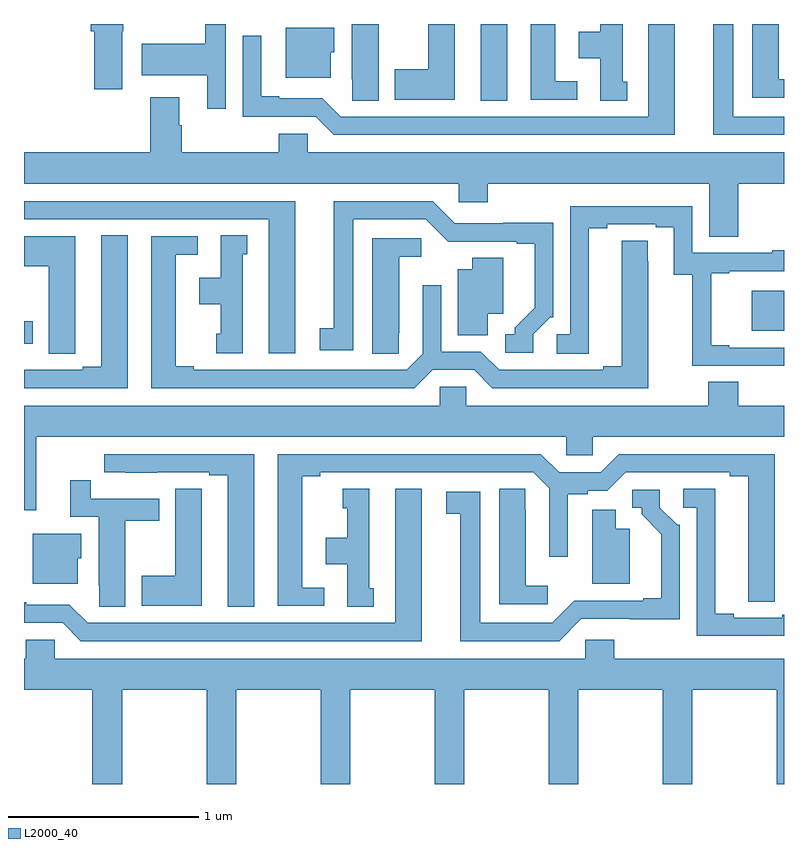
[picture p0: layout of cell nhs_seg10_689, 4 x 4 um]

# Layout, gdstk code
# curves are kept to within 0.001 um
import gdstk
lib = gdstk.Library(unit=1e-6, precision=1e-09)
def R(c, l, rs):  # rectangles x0, y0, x1, y1
    for r in rs: c.add(gdstk.rectangle(r[:2], r[2:], *l))
def P(c, l, *ps):  # polygons
    for p in ps: c.add(gdstk.Polygon(p, *l))
L2000_40 = (2000, 40)

nhs_seg10_689 = lib.new_cell('nhs_seg10_689')
R(nhs_seg10_689, L2000_40, [(145,1288.818,145.045,1288.935), (148.829,1288.886,149,1289.095), (147.404,1290.097,147.544,1290.5)])
P(nhs_seg10_689, L2000_40, [(146.061,1290.5),(145.953,1290.5),(145.953,1290.396),(145.62,1290.396),(145.62,1290.23),(145.964,1290.23),(145.964,1290.054),(146.061,1290.054)],
  [(147.913,1290.198),(147.796,1290.198),(147.796,1290.5),(147.668,1290.5),(147.668,1290.102),(147.913,1290.102)],
  [(148.174,1290.195),(148.15,1290.195),(148.15,1290.5),(148.034,1290.5),(148.034,1290.46),(147.92,1290.46),(147.92,1290.32),(148.034,1290.32),(148.034,1290.097),(148.174,1290.097)],
  [(148.426,1290.5),(148.286,1290.5),(148.286,1290.012),(146.667,1290.012),(146.571,1290.108),(146.344,1290.108),(146.344,1290.121),(146.248,1290.121),(146.248,1290.439),(146.151,1290.439),(146.151,1290.012),(146.535,1290.012),(146.631,1289.916),(148.426,1289.916)],
  [(145.516,1290.462),(145.522,1290.462),(145.522,1290.5),(145.352,1290.5),(145.352,1290.462),(145.37,1290.462),(145.37,1290.156),(145.516,1290.156)],
  [(146.866,1290.5),(146.726,1290.5),(146.726,1290.208),(146.727,1290.208),(146.727,1290.097),(146.866,1290.097)],
  [(149,1290.208),(148.972,1290.208),(148.972,1290.5),(148.832,1290.5),(148.832,1290.111),(149,1290.111)],
  [(147.268,1290.5),(147.128,1290.5),(147.128,1290.261),(146.951,1290.261),(146.951,1290.101),(147.268,1290.101)],
  [(149,1290.012),(148.732,1290.012),(148.732,1290.5),(148.628,1290.5),(148.628,1289.916),(149,1289.916)],
  [(146.614,1290.351),(146.632,1290.351),(146.632,1290.481),(146.378,1290.481),(146.378,1290.218),(146.614,1290.218)],
  [(148.76,1289.66),(149,1289.66),(149,1289.824),(146.493,1289.824),(146.493,1289.922),(146.342,1289.922),(146.342,1289.824),(145.829,1289.824),(145.829,1289.966),(145.816,1289.966),(145.816,1290.115),(145.664,1290.115),(145.664,1289.824),(145,1289.824),(145,1289.66),(147.288,1289.66),(147.288,1289.562),(147.44,1289.562),(147.44,1289.66),(148.607,1289.66),(148.607,1289.38),(148.76,1289.38)],
  [(146.428,1289.568),(145,1289.568),(145,1289.472),(146.288,1289.472),(146.288,1288.767),(146.428,1288.767)],
  [(147.681,1288.866),(147.771,1288.956),(147.786,1288.956),(147.786,1289.453),(147.523,1289.453),(147.523,1289.451),(147.267,1289.451),(147.15,1289.568),(146.63,1289.568),(146.63,1288.898),(146.556,1288.898),(146.556,1288.782),(146.734,1288.782),(146.734,1289.472),(147.114,1289.472),(147.232,1289.354),(147.593,1289.355),(147.593,1289.343),(147.689,1289.343),(147.689,1289.006),(147.584,1288.901),(147.584,1288.866),(147.534,1288.866),(147.534,1288.77),(147.681,1288.77)],
  [(149,1288.797),(148.711,1288.797),(148.711,1288.81),(148.616,1288.81),(148.616,1289.187),(148.711,1289.187),(148.711,1289.199),(149,1289.199),(149,1289.308),(148.937,1289.308),(148.937,1289.295),(148.518,1289.295),(148.518,1289.541),(147.876,1289.541),(147.876,1288.866),(147.804,1288.866),(147.804,1288.765),(147.973,1288.765),(147.973,1289.425),(148.069,1289.425),(148.069,1289.445),(148.325,1289.445),(148.325,1289.43),(148.421,1289.43),(148.421,1289.179),(148.516,1289.179),(148.516,1288.701),(149,1288.701)],
  [(146.152,1289.289),(146.176,1289.289),(146.176,1289.387),(146.036,1289.387),(146.036,1289.164),(145.922,1289.164),(145.922,1289.024),(146.036,1289.024),(146.036,1288.869),(146.012,1288.869),(146.012,1288.767),(146.152,1288.767)],
  [(145.546,1289.387),(145.406,1289.387),(145.406,1288.695),(145.31,1288.695),(145.31,1288.68),(145.034,1288.68),(145.034,1288.681),(145,1288.681),(145,1288.584),(145.546,1288.584)],
  [(145.269,1288.873),(145.27,1288.873),(145.27,1289.383),(145,1289.383),(145,1289.224),(145.13,1289.224),(145.13,1288.765),(145.269,1288.765)],
  [(147.151,1288.68),(147.369,1288.68),(147.465,1288.584),(148.285,1288.584),(148.284,1289.36),(148.145,1289.36),(148.145,1288.7),(148.049,1288.7),(148.049,1288.68),(147.501,1288.68),(147.405,1288.776),(147.195,1288.776),(147.195,1289.125),(147.099,1289.125),(147.099,1288.764),(147.015,1288.68),(145.894,1288.68),(145.894,1288.7),(145.798,1288.7),(145.798,1289.286),(145.915,1289.286),(145.915,1289.382),(145.67,1289.382),(145.67,1288.584),(147.055,1288.584)],
  [(146.973,1288.873),(146.974,1288.873),(146.974,1289.276),(147.091,1289.276),(147.091,1289.373),(146.834,1289.373),(146.834,1288.765),(146.973,1288.765)],
  [(147.442,1288.976),(147.523,1288.976),(147.523,1289.27),(147.359,1289.27),(147.359,1289.209),(147.284,1289.209),(147.284,1288.861),(147.442,1288.861)],
  [(145.064,1288.328),(147.855,1288.328),(147.855,1288.23),(147.993,1288.23),(147.993,1288.328),(149,1288.328),(149,1288.492),(148.76,1288.492),(148.76,1288.616),(148.6,1288.616),(148.6,1288.492),(147.327,1288.492),(147.327,1288.59),(147.189,1288.59),(147.189,1288.492),(145,1288.492),(145,1287.942),(145.064,1287.942)],
  [(146.581,1287.534),(146.464,1287.534),(146.464,1288.12),(146.56,1288.12),(146.56,1288.14),(147.681,1288.14),(147.765,1288.056),(147.765,1287.696),(147.862,1287.696),(147.862,1288.024),(147.966,1288.024),(147.966,1288.044),(148.071,1288.044),(148.167,1288.14),(148.715,1288.14),(148.715,1288.12),(148.811,1288.12),(148.811,1287.46),(148.95,1287.46),(148.951,1288.236),(148.131,1288.236),(148.035,1288.14),(147.817,1288.14),(147.721,1288.236),(146.336,1288.236),(146.336,1287.438),(146.581,1287.438)],
  [(146.212,1288.236),(145.422,1288.236),(145.422,1288.14),(145.534,1288.14),(145.534,1288.139),(145.7,1288.139),(145.7,1288.14),(145.976,1288.14),(145.976,1288.125),(146.072,1288.125),(146.072,1287.433),(146.212,1287.433)],
  [(145.534,1287.886),(145.711,1287.886),(145.711,1288.002),(145.352,1288.002),(145.352,1288.099),(145.244,1288.099),(145.244,1287.906),(145.394,1287.906),(145.394,1287.544),(145.395,1287.544),(145.395,1287.433),(145.534,1287.433)],
  [(145.936,1287.947),(145.935,1287.947),(145.935,1288.055),(145.796,1288.055),(145.796,1287.597),(145.619,1287.597),(145.619,1287.437),(145.936,1287.437)],
  [(149,1287.39),(148.991,1287.39),(148.991,1287.375),(148.735,1287.375),(148.735,1287.395),(148.639,1287.395),(148.639,1288.055),(148.47,1288.055),(148.47,1287.954),(148.542,1287.954),(148.542,1287.279),(149,1287.279)],
  [(147.757,1287.544),(147.64,1287.544),(147.64,1287.947),(147.639,1287.947),(147.639,1288.055),(147.5,1288.055),(147.5,1287.447),(147.757,1287.447)],
  [(147.094,1288.054),(146.954,1288.054),(146.954,1287.348),(145.335,1287.348),(145.239,1287.444),(145.012,1287.444),(145.012,1287.457),(145,1287.457),(145,1287.348),(145.203,1287.348),(145.299,1287.252),(147.094,1287.252)],
  [(146.842,1287.531),(146.818,1287.531),(146.818,1288.054),(146.678,1288.054),(146.678,1287.951),(146.702,1287.951),(146.702,1287.796),(146.588,1287.796),(146.588,1287.656),(146.702,1287.656),(146.702,1287.433),(146.842,1287.433)],
  [(147.933,1287.369),(148.452,1287.368),(148.452,1287.864),(148.437,1287.864),(148.347,1287.954),(148.347,1288.05),(148.2,1288.05),(148.2,1287.954),(148.25,1287.954),(148.25,1287.919),(148.355,1287.814),(148.355,1287.478),(148.259,1287.478),(148.259,1287.465),(147.897,1287.465),(147.78,1287.348),(147.4,1287.348),(147.4,1288.038),(147.222,1288.038),(147.222,1287.922),(147.296,1287.922),(147.296,1287.252),(147.816,1287.252)],
  [(148.189,1287.844),(148.114,1287.844),(148.114,1287.943),(147.992,1287.943),(147.992,1287.554),(148.189,1287.554)],
  [(145.282,1287.687),(145.3,1287.687),(145.3,1287.817),(145.046,1287.817),(145.046,1287.554),(145.282,1287.554)],
  [(145.518,1286.996),(145.963,1286.996),(145.963,1286.5),(146.118,1286.5),(146.118,1286.996),(146.563,1286.996),(146.563,1286.5),(146.718,1286.5),(146.718,1286.996),(147.163,1286.996),(147.163,1286.5),(147.318,1286.5),(147.318,1286.996),(147.763,1286.996),(147.763,1286.5),(147.918,1286.5),(147.918,1286.996),(148.363,1286.996),(148.363,1286.5),(148.518,1286.5),(148.518,1286.996),(148.963,1286.996),(148.963,1286.5),(149,1286.5),(149,1287.16),(148.106,1287.16),(148.106,1287.258),(147.954,1287.258),(147.954,1287.16),(145.161,1287.16),(145.161,1287.258),(145.01,1287.258),(145.01,1287.16),(145,1287.16),(145,1286.996),(145.358,1286.996),(145.358,1286.5),(145.518,1286.5)])

lib.write_gds('nhs_seg10_689.gds')
